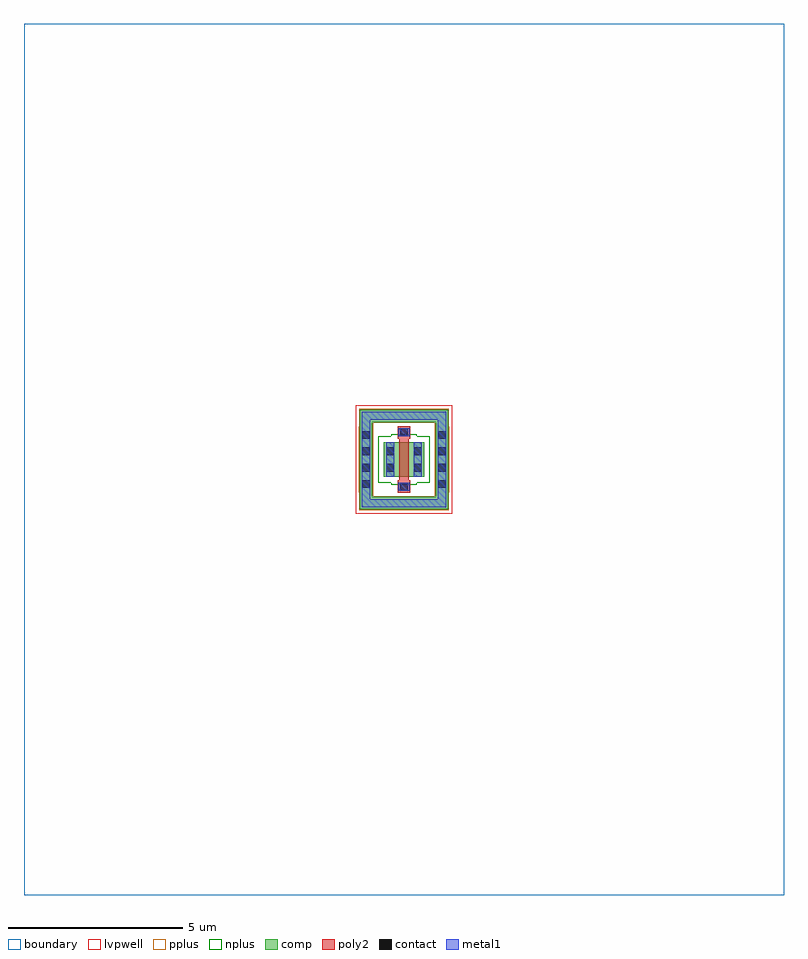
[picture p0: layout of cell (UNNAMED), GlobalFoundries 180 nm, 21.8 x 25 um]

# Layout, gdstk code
import gdstk
lib = gdstk.Library(unit=1e-6, precision=1e-09)
def R(c, l, rs):  # rectangles x0, y0, x1, y1
    for r in rs: c.add(gdstk.rectangle(r[:2], r[2:], *l))
def A(c, l, x, y, w, h, nx, ny, dx, dy):  # array of equal rectangles
    R(c, l, [(x+i*dx, y+j*dy, x+i*dx+w, y+j*dy+h) for i in range(nx) for j in range(ny)])
boundary = (0, 0)
comp = (22, 0)
poly2 = (30, 0)
pplus = (31, 0)
nplus = (32, 0)
contact = (33, 0)
metal1 = (34, 0)
lvpwell = (204, 0)

c__unnamed_ = lib.new_cell('(UNNAMED)')
R(c__unnamed_, boundary, [(-10.9,-12.5,10.9,12.5)])
R(c__unnamed_, comp, [(-1.27,-1.43,1.27,-1.07), (-1.27,-1.07,-0.91,1.07), (0.91,-1.07,1.27,1.07), (-0.58,-0.5,0.58,0.5), (-1.27,1.07,1.27,1.43)])
R(c__unnamed_, poly2, [(-0.18,-0.96,0.18,-0.6), (-0.14,-0.6,0.14,0.6), (-0.18,0.6,0.18,0.96)])
R(c__unnamed_, pplus, [(-1.29,-1.45,1.29,-1.05), (-1.29,-1.05,-0.88,-0.945), (0.88,-1.05,1.29,-0.945), (-1.3,-0.945,-0.88,0.945), (0.88,-0.945,1.3,0.945), (-1.29,0.945,-0.88,1.05), (0.88,0.945,1.29,1.05), (-1.29,1.05,1.29,1.45)])
R(c__unnamed_, nplus, [(-0.37,-0.73,0.37,-0.66), (-0.74,-0.66,0.74,0.66), (-0.37,0.66,0.37,0.73)])
A(c__unnamed_, contact, -1.2, -0.815, 0.22, 0.22, 1, 4, 0, 0.47)
A(c__unnamed_, contact, 0.98, -0.815, 0.22, 0.22, 1, 4, 0, 0.47)
R(c__unnamed_, contact, [(-0.11,-0.89,0.11,-0.67), (-0.51,-0.345,-0.29,-0.125), (0.29,-0.345,0.51,-0.125), (-0.51,0.125,-0.29,0.345), (0.29,0.125,0.51,0.345), (-0.11,0.67,0.11,0.89)])
R(c__unnamed_, metal1, [(-1.205,-1.365,1.205,-1.135), (-1.205,-1.135,-0.975,1.135), (0.975,-1.135,1.205,1.135), (-0.17,-0.895,0.17,-0.665), (-0.515,-0.49,-0.285,0.49), (0.285,-0.49,0.515,0.49), (-0.17,0.665,0.17,0.895), (-1.205,1.135,1.205,1.365)])
R(c__unnamed_, lvpwell, [(-1.39,-1.55,1.39,1.55)])

lib.write_gds('_UNNAMED_.gds')
